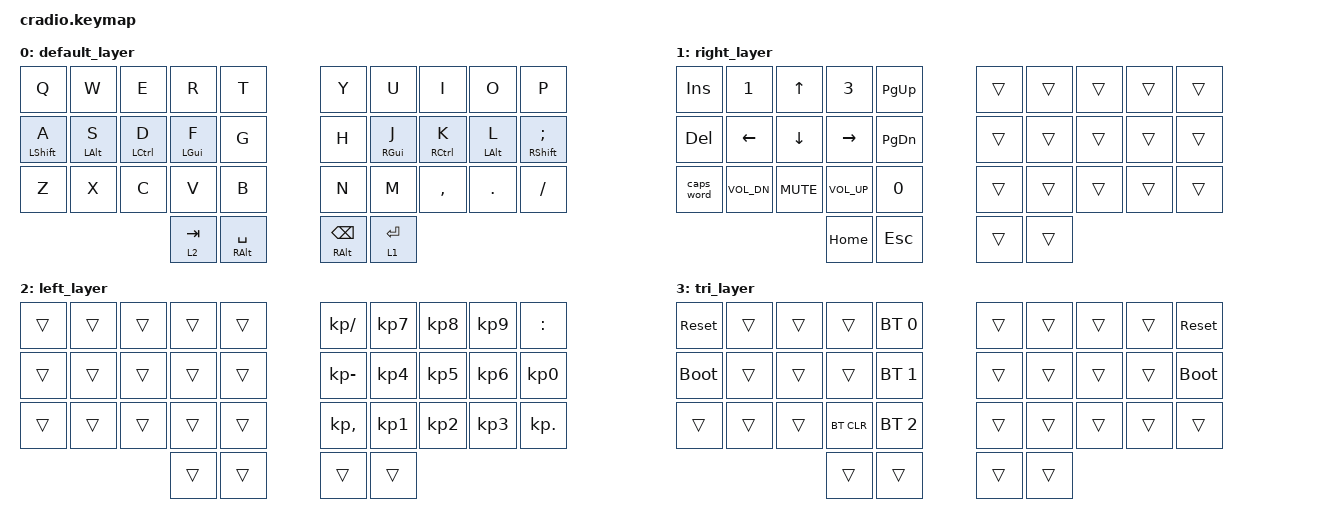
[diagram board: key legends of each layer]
// Copyright (c) 2022 The ZMK Contributors
// SPDX-License-Identifier: MIT

#include <behaviors.dtsi>
#include <dt-bindings/zmk/keys.h>
#include <dt-bindings/zmk/bt.h>

// Home row mods macro
#define HRML(k1,k2,k3,k4) &ht LSHFT k1  &ht LALT k2  &ht LCTRL k3  &ht LGUI k4
#define HRMR(k1,k2,k3,k4) &ht RGUI k1  &ht RCTRL k2  &ht RALT k3  &ht RSHFT k4

/ {
    behaviors {
        ht: hold_tap {
            compatible = "zmk,behavior-hold-tap";
            #binding-cells = <2>;
            flavor = "tap-preferred";
            tapping-term-ms = <220>;
            quick-tap-ms = <150>;
            require-prior-idle-ms = <100>;
            bindings = <&kp>, <&kp>;
        };
    };

    conditional_layers {
        compatible = "zmk,conditional-layers";
        tri_layer {
            if-layers = <1 2>;
            then-layer = <3>;
        };
    };

    keymap {
        compatible = "zmk,keymap";
        default_layer {
            bindings = <
        //╭──────────┬──────────┬──────────┬──────────┬──────────╮   ╭──────────┬──────────┬──────────┬──────────┬──────────╮
        //│  Q       │  W       │  E       │  R       │  T       │   │  Y       │  U       │  I       │  O       │  P       │
            &kp Q      &kp W      &kp E      &kp R      &kp T          &kp Y      &kp U      &kp I      &kp O      &kp P
        //├──────────┼──────────┼──────────┼──────────┼──────────┤   ├──────────┼──────────┼──────────┼──────────┼──────────┤
        //│  A       │  S       │  D       │  F       │  G       │   │  H       │  J       │  K       │  L       │ ' "      │
        &ht LSHFT A &ht LALT S &ht LCTRL D &ht LGUI F    &kp G       &kp H     &ht RGUI J  &ht RCTRL K  &ht LALT L  &ht RSHFT SEMI
        //├──────────┼──────────┼──────────┼──────────┼──────────┤   ├──────────┼──────────┼──────────┼──────────┼──────────┤
        //│  Z       │  X       │  C       │  V       │  B       │   │  N       │  M       │ , <      │ . >      │ / ?      │
            &kp Z      &kp X      &kp C      &kp V      &kp B          &kp N      &kp M      &kp COMMA  &kp DOT    &kp FSLH
        //╰──────────┴──────────┴──────────┼──────────┼──────────┤   ├──────────┼──────────┼──────────┴──────────┴──────────╯
                                        &lt 2 TAB   &ht RALT SPACE     &ht RALT BSPC  &lt 1 ENTER
        //                                 ╰──────────┴──────────╯   ╰──────────┴──────────╯
            >;
        };

        right_layer {
            bindings = <
        //╭──────────┬──────────┬──────────┬──────────┬──────────╮   ╭──────────┬──────────┬──────────┬──────────┬──────────╮
        //│ INSERT   │  1       │  UP      │  3       │          │   │ HOME     │ PAGE DN  │ PAGE UP  │ END      │  :       │&kp HOME   &kp END
            &kp INS    &kp N1     &kp UP     &kp N3     &kp PG_UP       &trans     &trans     &trans     &trans     &trans
        //├──────────┼──────────┼──────────┼──────────┼──────────┤   ├──────────┼──────────┼──────────┼──────────┼──────────┤
        //│ DELETE   │  4       │  DOWN    │  6       │          │   │ LEFT     │ DOWN     │ UP       │ RIGHT    │  ;       │
            &kp DEL    &kp LEFT  &kp DOWN   &kp RIGHT  &kp PG_DN        &trans     &trans     &trans     &trans     &trans
        //├──────────┼──────────┼──────────┼──────────┼──────────┤   ├──────────┼──────────┼──────────┼──────────┼──────────┤
        //│ CAPS     │  7       │  8       │  9       │  0       │   │          │          │          │          │          │
        &caps_word  &kp C_VOL_DN  &kp C_MUTE  &kp C_VOL_UP  &kp N0     &trans     &trans     &trans     &trans     &trans
        //╰──────────┴──────────┴──────────┼──────────┼──────────┤   ├──────────┼──────────┼──────────┴──────────┴──────────╯
                                             &kp HOME    &kp ESC        &trans     &trans
        //                                 ╰──────────┴──────────╯   ╰──────────┴──────────╯
            >;
        };

        left_layer {
            bindings = <
        //╭──────────┬──────────┬──────────┬──────────┬──────────╮   ╭──────────┬──────────┬──────────┬──────────┬──────────╮
        //│ INSERT   │  1       │  UP      │  3       │          │   │ HOME     │ PAGE DN  │ PAGE UP  │ END      │  :       │
             &trans     &trans     &trans     &trans     &trans      &kp KP_SLASH &kp KP_N7  &kp KP_N8  &kp KP_N9  &kp COLON
        //├──────────┼──────────┼──────────┼──────────┼──────────┤   ├──────────┼──────────┼──────────┼──────────┼──────────┤
        //│ DELETE   │  4       │  DOWN    │  6       │          │   │ LEFT     │ DOWN     │ UP       │ RIGHT    │  ;       │
             &trans     &trans     &trans     &trans     &trans      &kp KP_MINUS  &kp KP_N4  &kp KP_N5  &kp KP_N6   &kp KP_N0
        //├──────────┼──────────┼──────────┼──────────┼──────────┤   ├──────────┼──────────┼──────────┼──────────┼──────────┤
        //│ CAPS     │  7       │  8       │  9       │  0       │   │          │          │          │          │          │
             &trans     &trans     &trans     &trans     &trans      &kp KP_COMMA  &kp KP_N1  &kp KP_N2   &kp KP_N3  &kp KP_DOT
        //╰──────────┴──────────┴──────────┼──────────┼──────────┤   ├──────────┼──────────┼──────────┴──────────┴──────────╯
                                             &trans     &trans        &trans     &trans
        //                                 ╰──────────┴──────────╯   ╰──────────┴──────────╯
            >;
        };

        tri_layer {
            bindings = <
        //╭──────────┬──────────┬──────────┬──────────┬──────────╮   ╭──────────┬──────────┬──────────┬──────────┬──────────╮
        //│ RESET    │          │          │          │PROFILE 0 │   │          │          │          │          │  RESET   │
           &sys_reset  &trans     &trans     &trans    &bt BT_SEL 0    &trans     &trans     &trans     &trans    &sys_reset
        //├──────────┼──────────┼──────────┼──────────┼──────────┤   ├──────────┼──────────┼──────────┼──────────┼──────────┤
        //│BOOTLOADER│          │          │          │PROFILE 1 │   │          │          │          │          │BOOTLOADER│
          &bootloader  &trans     &trans     &trans    &bt BT_SEL 1    &trans     &trans     &trans     &trans    &bootloader
        //├──────────┼──────────┼──────────┼──────────┼──────────┤   ├──────────┼──────────┼──────────┼──────────┼──────────┤
        //│          │          │          │ CLEAR BT │PROFILE 2 │   │          │          │          │          │          │
            &trans     &trans     &trans    &bt BT_CLR &bt BT_SEL 2    &trans     &trans     &trans     &trans     &trans
        //╰──────────┴──────────┴──────────┼──────────┼──────────┤   ├──────────┼──────────┼──────────┴──────────┴──────────╯
                                             &trans     &trans         &trans     &trans
        //                                 ╰──────────┴──────────╯   ╰──────────┴──────────╯
            >;
        };
    };
};
